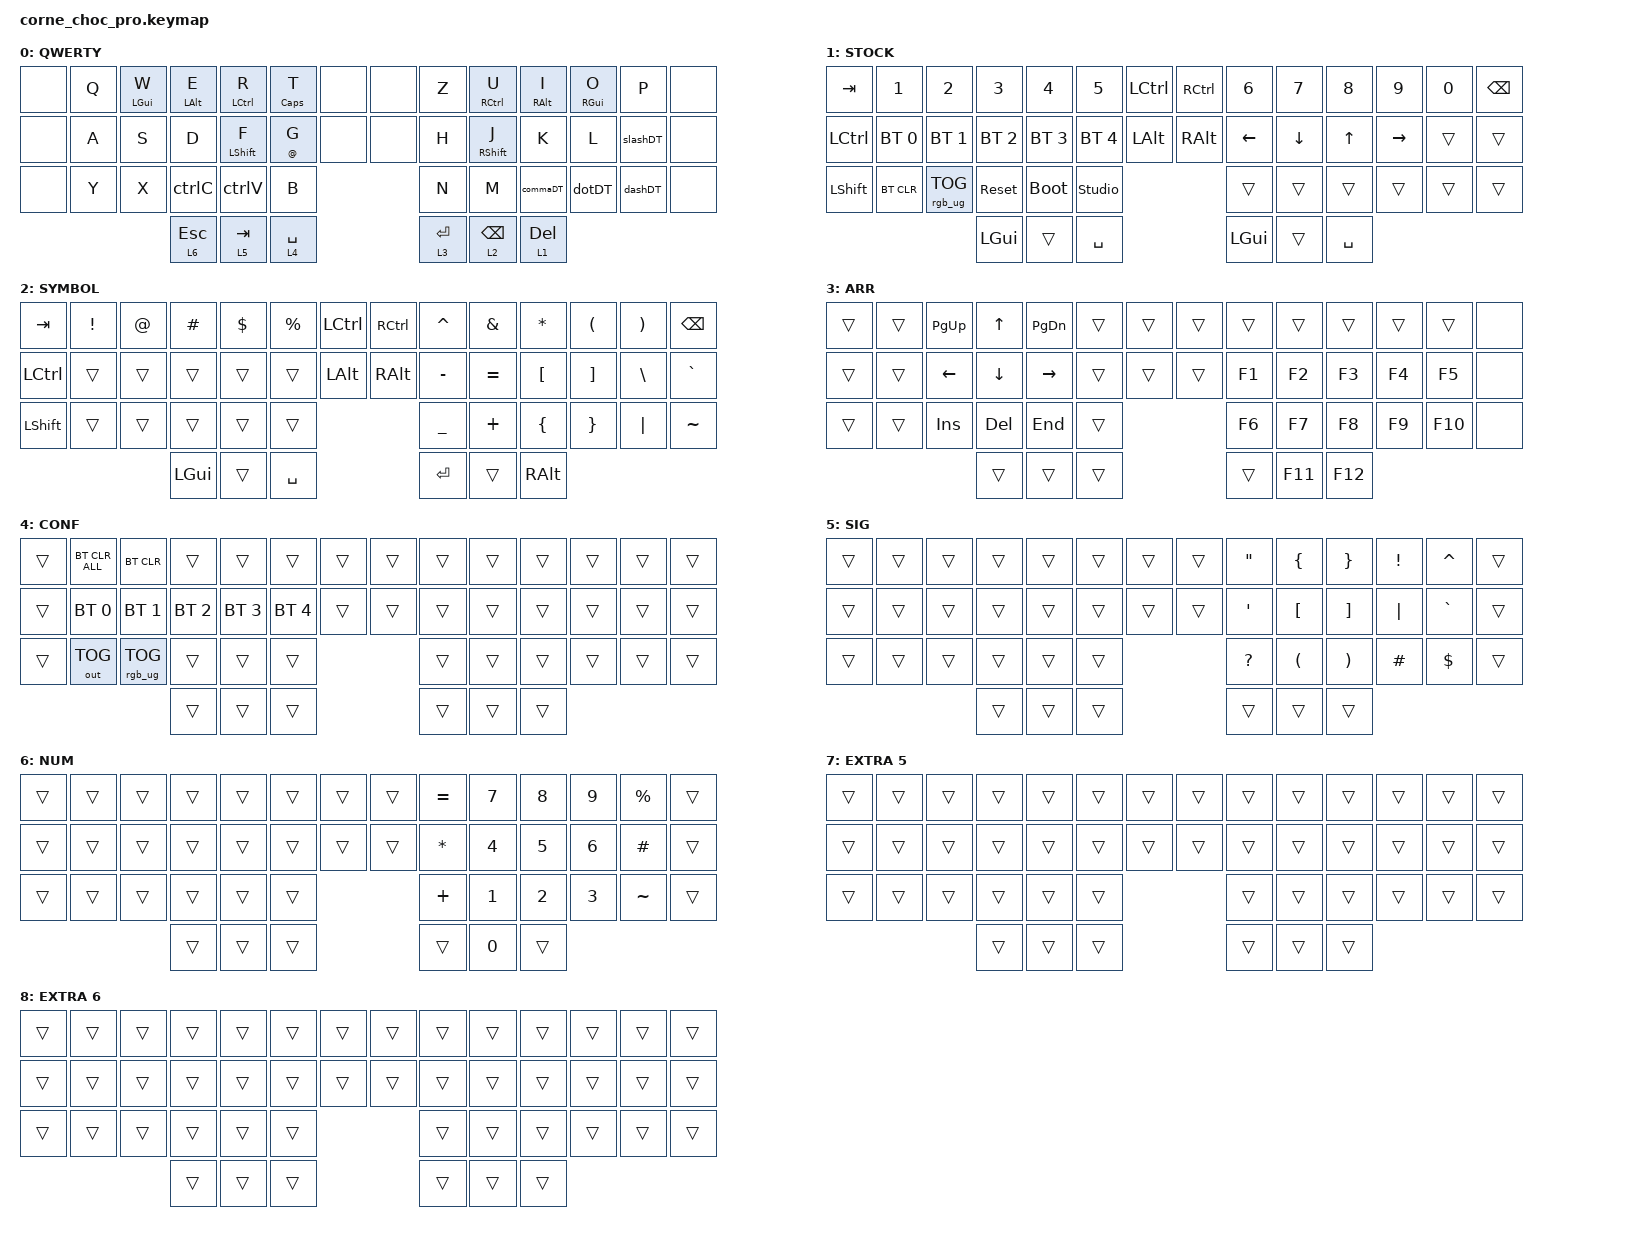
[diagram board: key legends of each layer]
/*
 * Copyright (c) 2020 The ZMK Contributors
 *
 * SPDX-License-Identifier: MIT
 */

#include <behaviors.dtsi>
#include <dt-bindings/zmk/bt.h>
#include <dt-bindings/zmk/keys.h>
#include <dt-bindings/zmk/outputs.h>
#include <dt-bindings/zmk/rgb.h>

&mt {
    flavor = "tap-preferred";
    tapping-term-ms = <250>;
};

/ {
    chosen { zmk,physical-layout = &default_layout; };
};

/ {
    behaviors {
        commaDT: commaDT {
            compatible = "zmk,behavior-tap-dance";
            label = "COMMADT";
            #binding-cells = <0>;
            bindings = <&kp COMMA>, <&kp SEMICOLON>;
        };

        dotDT: dotDT {
            compatible = "zmk,behavior-tap-dance";
            label = "DOTDT";
            #binding-cells = <0>;
            bindings = <&kp DOT>, <&kp COLON>;
        };

        slashDT: slashDT {
            compatible = "zmk,behavior-tap-dance";
            label = "SLASHDT";
            #binding-cells = <0>;
            bindings = <&kp SLASH>, <&kp BACKSLASH>;
        };

        dashDT: dashDT {
            compatible = "zmk,behavior-tap-dance";
            label = "DASHDT";
            #binding-cells = <0>;
            bindings = <&kp MINUS>, <&kp UNDERSCORE>;
        };

        ctrlC: ctrlC {
            compatible = "zmk,behavior-tap-dance";
            label = "CTRLC";
            #binding-cells = <0>;
            bindings = <&kp C>, <&kp K_COPY>;
        };

        ctrlV: ctrlV {
            compatible = "zmk,behavior-tap-dance";
            label = "CTRLV";
            #binding-cells = <0>;
            bindings = <&kp V>, <&kp K_PASTE>;
        };
    };

    keymap {
        compatible = "zmk,keymap";

        default_layer {
            display-name = "QWERTY";

            // --------------------------------------------------------------------------------
            // |  TAB |  Q  |  W  |  E  |  R  |  T  |  MUTE |  PP   |  Y  |  U   |  I  |  O  |  P  | BSPC |
            // | CTRL |  A  |  S  |  D  |  F  |  G  |  LALT |  RALT |  H  |  J   |  K  |  L  |  ;  |  '   |
            // | SHFT |  Z  |  X  |  C  |  V  |  B  |               |  N  |  M   |  ,  |  .  |  /  | ESC  |
            //                    | GUI | LWR | SPC |               | ENT | RSE  | ALT |

            bindings = <
&none  &kp Q  &mt LEFT_GUI W  &mt LEFT_ALT E  &mt LEFT_CONTROL R  &mt CAPSLOCK T  &none  &none  &kp Z        &mt RIGHT_CONTROL U  &mt RIGHT_ALT I  &mt RIGHT_GUI O  &kp P     &none
&none  &kp A  &kp S           &kp D           &mt LEFT_SHIFT F    &mt AT G        &none  &none  &kp H        &mt RIGHT_SHIFT J    &kp K            &kp L            &slashDT  &none
&none  &kp Y  &kp X           &ctrlC          &ctrlV              &kp B                         &kp N        &kp M                &commaDT         &dotDT           &dashDT   &none
                              &lt 6 ESCAPE    &lt 5 TAB           &lt 4 SPACE                   &lt 3 ENTER  &lt 2 BACKSPACE      &lt 1 DEL
            >;
        };

        lower_layer {
            display-name = "STOCK";

            // -----------------------------------------------------------------------------------------
            // |  TAB |  1  |  2  |  3  |  4  |  5    |  LCTRL | RCTRL |  6  |  7  |  8  |  9  |  0  | BSPC |
            // | CTRL | BT1 | BT2 | BT3 | BT4 | BT5   |  LALT  | RALT  | LFT | DWN |  UP | RGT |     |      |
            // | SHFT | BTCR| RGB | RST | BOOT| Unlock|        |       |     |     |     |     |     |      |
            //                    | GUI |     | SPC   |        | ENT   |     | ALT |

            bindings = <
&kp TAB    &kp N1        &kp N2           &kp N3        &kp N4        &kp N5          &kp LCTRL  &kp RCTRL  &kp N6    &kp N7    &kp N8     &kp N9     &kp N0  &kp BSPC
&kp LCTRL  &bt BT_SEL 0  &bt BT_SEL 1     &bt BT_SEL 2  &bt BT_SEL 3  &bt BT_SEL 4    &kp LALT   &kp RALT   &kp LEFT  &kp DOWN  &kp UP     &kp RIGHT  &trans  &trans
&kp LSHFT  &bt BT_CLR    &rgb_ug RGB_TOG  &sys_reset    &bootloader   &studio_unlock                        &trans    &trans    &trans     &trans     &trans  &trans
                                          &kp LGUI      &trans        &kp SPACE                             &kp LGUI  &trans    &kp SPACE
            >;
        };

        raise_layer {
            display-name = "SYMBOL";

            // -----------------------------------------------------------------------------------------
            // |  TAB |  !  |  @  |  #  |  $  |  %  | LCTRL | RCTRL |  ^  |  &  |  *  |  (  |  )  | BSPC |
            // | CTRL |     |     |     |     |     |  LALT | RALT  |  -  |  =  |  [  |  ]  |  \  |  `   |
            // | SHFT |     |     |     |     |     |               |  _  |  +  |  {  |  }  | "|" |  ~   |
            //                    | GUI |     | SPC |               | ENT |     | ALT |

            bindings = <
&kp TAB    &kp EXCL  &kp AT  &kp HASH  &kp DLLR  &kp PRCNT  &kp LCTRL  &kp RCTRL  &kp CARET  &kp AMPS   &kp ASTRK  &kp LPAR  &kp RPAR  &kp BSPC
&kp LCTRL  &trans    &trans  &trans    &trans    &trans     &kp LALT   &kp RALT   &kp MINUS  &kp EQUAL  &kp LBKT   &kp RBKT  &kp BSLH  &kp GRAVE
&kp LSHFT  &trans    &trans  &trans    &trans    &trans                           &kp UNDER  &kp PLUS   &kp LBRC   &kp RBRC  &kp PIPE  &kp TILDE
                             &kp LGUI  &trans    &kp SPACE                        &kp RET    &trans     &kp RALT
            >;
        };

        arrows {
            display-name = "ARR";
            bindings = <
&trans  &trans  &kp PAGE_UP  &kp UP_ARROW  &kp PAGE_DOWN  &trans  &trans  &trans  &trans  &trans   &trans   &trans  &trans   &none
&trans  &trans  &kp LEFT     &kp DOWN      &kp RIGHT      &trans  &trans  &trans  &kp F1  &kp F2   &kp F3   &kp F4  &kp F5   &none
&trans  &trans  &kp INS      &kp DEL       &kp END        &trans                  &kp F6  &kp F7   &kp F8   &kp F9  &kp F10  &none
                             &trans        &trans         &trans                  &trans  &kp F11  &kp F12
            >;
        };

        config {
            display-name = "CONF";
            bindings = <
&trans  &bt BT_CLR_ALL  &bt BT_CLR       &trans        &trans        &trans        &trans  &trans  &trans  &trans  &trans  &trans  &trans  &trans
&trans  &bt BT_SEL 0    &bt BT_SEL 1     &bt BT_SEL 2  &bt BT_SEL 3  &bt BT_SEL 4  &trans  &trans  &trans  &trans  &trans  &trans  &trans  &trans
&trans  &out OUT_TOG    &rgb_ug RGB_TOG  &trans        &trans        &trans                        &trans  &trans  &trans  &trans  &trans  &trans
                                         &trans        &trans        &trans                        &trans  &trans  &trans
            >;
        };

        signs {
            display-name = "SIG";
            bindings = <
&trans  &trans  &trans  &trans  &trans  &trans  &trans  &trans  &kp DOUBLE_QUOTES  &kp LEFT_BRACE        &kp RIGHT_BRACE        &kp EXCLAMATION  &kp CARET   &trans
&trans  &trans  &trans  &trans  &trans  &trans  &trans  &trans  &kp SINGLE_QUOTE   &kp LEFT_BRACKET      &kp RIGHT_BRACKET      &kp PIPE         &kp GRAVE   &trans
&trans  &trans  &trans  &trans  &trans  &trans                  &kp QUESTION       &kp LEFT_PARENTHESIS  &kp RIGHT_PARENTHESIS  &kp HASH         &kp DOLLAR  &trans
                        &trans  &trans  &trans                  &trans             &trans                &trans
            >;
        };

        numbers {
            display-name = "NUM";
            bindings = <
&trans  &trans  &trans  &trans  &trans  &trans  &trans  &trans  &kp EQUAL     &kp N7        &kp N8        &kp N9        &kp PERCENT  &trans
&trans  &trans  &trans  &trans  &trans  &trans  &trans  &trans  &kp ASTERISK  &kp NUMBER_4  &kp N5        &kp NUMBER_6  &kp HASH     &trans
&trans  &trans  &trans  &trans  &trans  &trans                  &kp PLUS      &kp NUMBER_1  &kp NUMBER_2  &kp NUMBER_3  &kp TILDE    &trans
                        &trans  &trans  &trans                  &trans        &kp NUMBER_0  &trans
            >;
        };

        extra_layer_5 {
            display-name = "EXTRA 5";
            bindings = <
&trans  &trans  &trans  &trans  &trans  &trans  &trans  &trans  &trans  &trans  &trans  &trans  &trans  &trans
&trans  &trans  &trans  &trans  &trans  &trans  &trans  &trans  &trans  &trans  &trans  &trans  &trans  &trans
&trans  &trans  &trans  &trans  &trans  &trans                  &trans  &trans  &trans  &trans  &trans  &trans
                        &trans  &trans  &trans                  &trans  &trans  &trans
            >;
        };

        extra_layer_6 {
            display-name = "EXTRA 6";
            bindings = <
&trans  &trans  &trans  &trans  &trans  &trans  &trans  &trans  &trans  &trans  &trans  &trans  &trans  &trans
&trans  &trans  &trans  &trans  &trans  &trans  &trans  &trans  &trans  &trans  &trans  &trans  &trans  &trans
&trans  &trans  &trans  &trans  &trans  &trans                  &trans  &trans  &trans  &trans  &trans  &trans
                        &trans  &trans  &trans                  &trans  &trans  &trans
            >;
        };
    };
};
